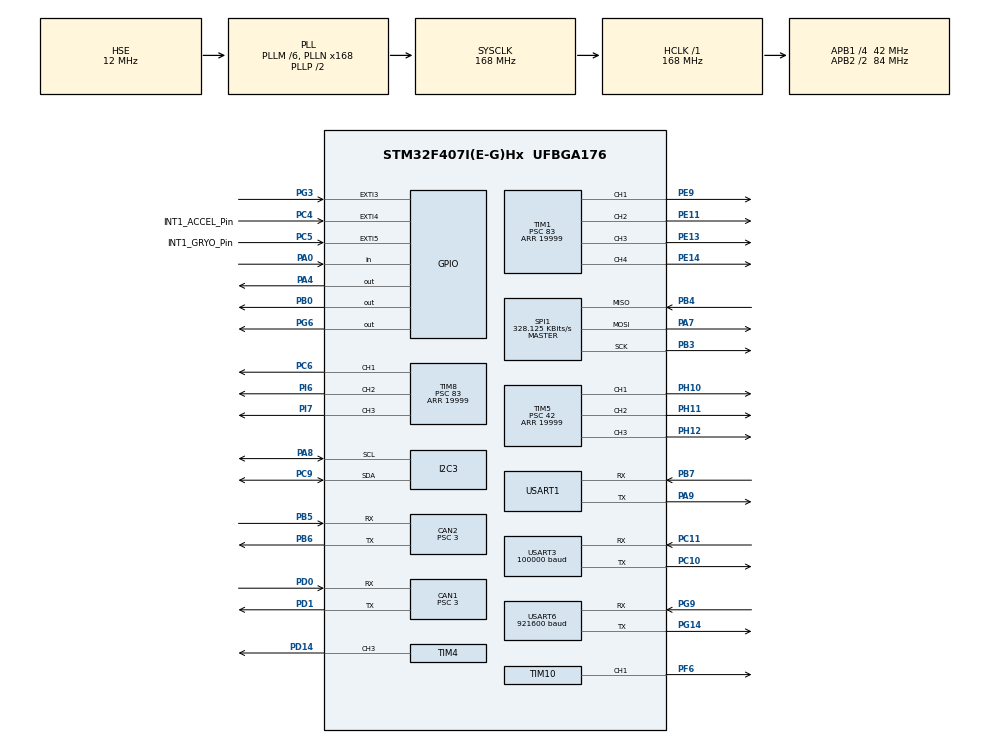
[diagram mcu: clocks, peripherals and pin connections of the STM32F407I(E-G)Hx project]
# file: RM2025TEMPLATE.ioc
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CAN1.BS1=CAN_BS1_10TQ
CAN1.BS2=CAN_BS2_3TQ
CAN1.CalculateBaudRate=1000000
CAN1.CalculateTimeBit=1000
CAN1.CalculateTimeQuantum=71.42857142857143
CAN1.Prescaler=3
CAN2.BS1=CAN_BS1_10TQ
CAN2.BS2=CAN_BS2_3TQ
CAN2.CalculateBaudRate=1000000
CAN2.CalculateTimeBit=1000
CAN2.CalculateTimeQuantum=71.42857142857143
CAN2.Prescaler=3
Dma.Request0=USART3_RX
Dma.Request1=USART1_RX
Dma.Request2=USART6_RX
Dma.USART1_RX.1.Direction=DMA_PERIPH_TO_MEMORY
Dma.USART1_RX.1.FIFOMode=DMA_FIFOMODE_DISABLE
Dma.USART1_RX.1.Instance=DMA2_Stream2
Dma.USART1_RX.1.MemDataAlignment=DMA_MDATAALIGN_BYTE
Dma.USART1_RX.1.MemInc=DMA_MINC_ENABLE
Dma.USART1_RX.1.Mode=DMA_NORMAL
Dma.USART1_RX.1.PeriphDataAlignment=DMA_PDATAALIGN_BYTE
Dma.USART1_RX.1.PeriphInc=DMA_PINC_DISABLE
Dma.USART1_RX.1.Priority=DMA_PRIORITY_VERY_HIGH
Dma.USART3_RX.0.Direction=DMA_PERIPH_TO_MEMORY
Dma.USART3_RX.0.FIFOMode=DMA_FIFOMODE_DISABLE
Dma.USART3_RX.0.Instance=DMA1_Stream1
Dma.USART3_RX.0.MemDataAlignment=DMA_MDATAALIGN_BYTE
Dma.USART3_RX.0.MemInc=DMA_MINC_ENABLE
Dma.USART3_RX.0.Mode=DMA_CIRCULAR
Dma.USART3_RX.0.PeriphDataAlignment=DMA_PDATAALIGN_BYTE
Dma.USART3_RX.0.PeriphInc=DMA_PINC_DISABLE
Dma.USART3_RX.0.Priority=DMA_PRIORITY_VERY_HIGH
Dma.USART6_RX.2.Direction=DMA_PERIPH_TO_MEMORY
Dma.USART6_RX.2.FIFOMode=DMA_FIFOMODE_DISABLE
Dma.USART6_RX.2.Instance=DMA2_Stream1
Dma.USART6_RX.2.MemDataAlignment=DMA_MDATAALIGN_BYTE
Dma.USART6_RX.2.MemInc=DMA_MINC_ENABLE
Dma.USART6_RX.2.Mode=DMA_NORMAL
Dma.USART6_RX.2.PeriphDataAlignment=DMA_PDATAALIGN_BYTE
Dma.USART6_RX.2.PeriphInc=DMA_PINC_DISABLE
Dma.USART6_RX.2.Priority=DMA_PRIORITY_VERY_HIGH
FREERTOS.INCLUDE_pcTaskGetTaskName=1
FREERTOS.INCLUDE_xTaskGetHandle=1
FREERTOS.Tasks01=FlowManager,48,128,StartFlowManager,Default,NULL,Dynamic,NULL,NULL;IMUtempPIDtask,24,512,imu_temp_control_task,As weak,NULL,Dynamic,NULL,NULL;TurretTask,24,512,StartTurretTask,Default,NULL,Dynamic,NULL,NULL;SentryAutonomy,24,128,StartSentryAutonomy,Default,NULL,Dynamic,NULL,NULL
FREERTOS.configUSE_NEWLIB_REENTRANT=1
I2C3.I2C_Mode=I2C_Fast
Mcu.Family=STM32F4
Mcu.Name=STM32F407I(E-G)Hx
Mcu.Package=UFBGA176
NVIC.CAN1_RX0_IRQn=true\:5\:0\:false\:false\:true\:true\:true\:true\:true
NVIC.CAN2_RX0_IRQn=true\:5\:0\:false\:false\:true\:true\:true\:true\:true
NVIC.DMA1_Stream1_IRQn=true\:5\:0\:false\:false\:true\:true\:false\:true\:true
NVIC.DMA2_Stream1_IRQn=true\:5\:0\:false\:false\:true\:true\:false\:true\:true
NVIC.DMA2_Stream2_IRQn=true\:5\:0\:false\:false\:true\:true\:false\:true\:true
NVIC.EXTI3_IRQn=true\:5\:0\:false\:false\:true\:true\:true\:true\:true
NVIC.EXTI4_IRQn=true\:5\:0\:false\:false\:true\:true\:true\:true\:true
NVIC.PriorityGroup=NVIC_PRIORITYGROUP_4
NVIC.USART1_IRQn=true\:5\:0\:false\:false\:true\:true\:true\:true\:true
NVIC.USART6_IRQn=true\:5\:0\:false\:false\:true\:true\:true\:true\:true
PA0-WKUP.Signal=GPIO_Input
PA13.Mode=Serial_Wire
PA13.Signal=SYS_JTMS-SWDIO
PA14.Mode=Serial_Wire
PA14.Signal=SYS_JTCK-SWCLK
PA4.Signal=GPIO_Output
PA7.Mode=Full_Duplex_Master
PA7.Signal=SPI1_MOSI
PA8.Mode=I2C
PA8.Signal=I2C3_SCL
PA9.Mode=Asynchronous
PA9.Signal=USART1_TX
PB0.Signal=GPIO_Output
PB3.Mode=Full_Duplex_Master
PB3.Signal=SPI1_SCK
PB4.Mode=Full_Duplex_Master
PB4.Signal=SPI1_MISO
PB5.Mode=CAN_Activate
PB5.Signal=CAN2_RX
PB6.Mode=CAN_Activate
PB6.Signal=CAN2_TX
PB7.Mode=Asynchronous
PB7.Signal=USART1_RX
PC10.Mode=Asynchronous
PC10.Signal=USART3_TX
PC11.Mode=Asynchronous
PC11.Signal=USART3_RX
PC4.GPIO_Label=INT1_ACCEL_Pin
PC4.Signal=GPXTI4
PC5.GPIO_Label=INT1_GRYO_Pin
PC5.Signal=GPXTI5
PC6.Signal=S_TIM8_CH1
PC9.Mode=I2C
PC9.Signal=I2C3_SDA
PD0.Mode=CAN_Activate
PD0.Signal=CAN1_RX
PD1.Mode=CAN_Activate
PD1.Signal=CAN1_TX
PD14.Signal=S_TIM4_CH3
PE11.Signal=S_TIM1_CH2
PE13.Signal=S_TIM1_CH3
PE14.Signal=S_TIM1_CH4
PE9.Signal=S_TIM1_CH1
PF6.GPIO_PuPd=GPIO_PULLUP
PF6.GPIO_Speed=GPIO_SPEED_FREQ_HIGH
PF6.Signal=S_TIM10_CH1
PG14.Mode=Asynchronous
PG14.Signal=USART6_TX
PG3.Signal=GPXTI3
PG6.Signal=GPIO_Output
PG9.Mode=Asynchronous
PG9.Signal=USART6_RX
PH0-OSC_IN.Mode=HSE-External-Oscillator
PH0-OSC_IN.Signal=RCC_OSC_IN
PH1-OSC_OUT.Mode=HSE-External-Oscillator
PH1-OSC_OUT.Signal=RCC_OSC_OUT
PH10.Signal=S_TIM5_CH1
PH11.Signal=S_TIM5_CH2
PH12.Signal=S_TIM5_CH3
PI6.Signal=S_TIM8_CH2
PI7.Signal=S_TIM8_CH3
ProjectManager.HeapSize=0x200
ProjectManager.StackSize=0x400
ProjectManager.TargetToolchain=STM32CubeIDE
RCC.48MHZClocksFreq_Value=84000000
RCC.AHBFreq_Value=168000000
RCC.APB1CLKDivider=RCC_HCLK_DIV4
RCC.APB1Freq_Value=42000000
RCC.APB1TimFreq_Value=84000000
RCC.APB2CLKDivider=RCC_HCLK_DIV2
RCC.APB2Freq_Value=84000000
RCC.APB2TimFreq_Value=168000000
RCC.CortexFreq_Value=168000000
RCC.EnbaleCSS=true
RCC.HCLKFreq_Value=168000000
RCC.HSE_VALUE=12000000
RCC.HSI_VALUE=16000000
RCC.LSE_VALUE=32768
RCC.PLLM=6
RCC.PLLN=168
RCC.PLLSourceVirtual=RCC_PLLSOURCE_HSE
RCC.SYSCLKFreq_VALUE=168000000
RCC.SYSCLKSource=RCC_SYSCLKSOURCE_PLLCLK
RCC.VCOOutputFreq_Value=336000000
SH.S_TIM10_CH1.0=TIM10_CH1,PWM Generation1 CH1
SH.S_TIM1_CH1.0=TIM1_CH1,PWM Generation1 CH1
SH.S_TIM1_CH2.0=TIM1_CH2,PWM Generation2 CH2
SH.S_TIM1_CH3.0=TIM1_CH3,PWM Generation3 CH3
SH.S_TIM1_CH4.0=TIM1_CH4,PWM Generation4 CH4
SH.S_TIM4_CH3.0=TIM4_CH3,PWM Generation3 CH3
SH.S_TIM5_CH1.0=TIM5_CH1,PWM Generation1 CH1
SH.S_TIM5_CH2.0=TIM5_CH2,PWM Generation2 CH2
SH.S_TIM5_CH3.0=TIM5_CH3,PWM Generation3 CH3
SH.S_TIM8_CH1.0=TIM8_CH1,PWM Generation1 CH1
SH.S_TIM8_CH2.0=TIM8_CH2,PWM Generation2 CH2
SH.S_TIM8_CH3.0=TIM8_CH3,PWM Generation3 CH3
SPI1.BaudRatePrescaler=SPI_BAUDRATEPRESCALER_256
SPI1.CLKPhase=SPI_PHASE_2EDGE
SPI1.CLKPolarity=SPI_POLARITY_HIGH
SPI1.CalculateBaudRate=328.125 KBits/s
SPI1.Direction=SPI_DIRECTION_2LINES
SPI1.Mode=SPI_MODE_MASTER
SPI1.VirtualType=VM_MASTER
TIM1.AutoReloadPreload=TIM_AUTORELOAD_PRELOAD_DISABLE
TIM1.Channel-PWM\ Generation1\ CH1=TIM_CHANNEL_1
TIM1.Channel-PWM\ Generation2\ CH2=TIM_CHANNEL_2
TIM1.Channel-PWM\ Generation3\ CH3=TIM_CHANNEL_3
TIM1.Channel-PWM\ Generation4\ CH4=TIM_CHANNEL_4
TIM1.Period=19999
TIM1.Prescaler=83
TIM1.Pulse-PWM\ Generation1\ CH1=0
TIM10.Channel=TIM_CHANNEL_1
TIM10.Period=4999
TIM4.AutoReloadPreload=TIM_AUTORELOAD_PRELOAD_ENABLE
TIM4.Channel-PWM\ Generation3\ CH3=TIM_CHANNEL_3
TIM4.Period=20999
TIM4.Pulse-PWM\ Generation3\ CH3=10499
TIM5.Channel-PWM\ Generation1\ CH1=TIM_CHANNEL_1
TIM5.Channel-PWM\ Generation2\ CH2=TIM_CHANNEL_2
TIM5.Channel-PWM\ Generation3\ CH3=TIM_CHANNEL_3
TIM5.Period=19999
TIM5.Prescaler=42
TIM8.AutoReloadPreload=TIM_AUTORELOAD_PRELOAD_ENABLE
TIM8.Channel-PWM\ Generation1\ CH1=TIM_CHANNEL_1
TIM8.Channel-PWM\ Generation2\ CH2=TIM_CHANNEL_2
TIM8.Channel-PWM\ Generation3\ CH3=TIM_CHANNEL_3
TIM8.Period=19999
TIM8.Prescaler=83
USART1.VirtualMode=VM_ASYNC
USART3.BaudRate=100000
USART3.Parity=PARITY_EVEN
USART3.VirtualMode=VM_ASYNC
USART6.BaudRate=921600
USART6.VirtualMode=VM_ASYNC
VP_FREERTOS_VS_CMSIS_V2.Mode=CMSIS_V2
VP_TIM10_VS_ClockSourceINT.Mode=Enable_Timer
VP_TIM4_VS_ClockSourceINT.Mode=Internal
board=custom

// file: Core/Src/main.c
/* USER CODE BEGIN Header */
/**
  ******************************************************************************
  * @file           : main.c
  * @brief          : Main program body
  ******************************************************************************
  * @attention
  *
  * Copyright (c) 2025 STMicroelectronics.
  * All rights reserved.
  *
  * This software is licensed under terms that can be found in the LICENSE file
  * in the root directory of this software component.
  * If no LICENSE file comes with this software, it is provided AS-IS.
  *
  ******************************************************************************
  */
/* USER CODE END Header */
#include "main.h"
#include "cmsis_os.h"

/* USER CODE BEGIN Includes */
#include "UART_RM25.h"
#include "DBUS.h"
// #include "CC_Handler.h"
#include "CAN.h"
#include "CAL_RM25.h"

#include "BMI088driver.h"
#include "BMI088Middleware.h"
#include "BMI088reg.h"
/* USER CODE END Includes */

CAN_HandleTypeDef hcan1;
CAN_HandleTypeDef hcan2;

I2C_HandleTypeDef hi2c3;

SPI_HandleTypeDef hspi1;

TIM_HandleTypeDef htim1;
TIM_HandleTypeDef htim4;
TIM_HandleTypeDef htim5;
TIM_HandleTypeDef htim8;
TIM_HandleTypeDef htim10;

UART_HandleTypeDef huart1;
UART_HandleTypeDef huart3;
UART_HandleTypeDef huart6;
DMA_HandleTypeDef hdma_usart1_rx;
DMA_HandleTypeDef hdma_usart3_rx;
DMA_HandleTypeDef hdma_usart6_rx;

/* Definitions for FlowManager */
osThreadId_t FlowManagerHandle;
const osThreadAttr_t FlowManager_attributes = {
  .name = "FlowManager",
  .stack_size = 128 * 4,
  .priority = (osPriority_t) osPriorityRealtime,
};
/* Definitions for IMUtempPIDtask */
osThreadId_t IMUtempPIDtaskHandle;
const osThreadAttr_t IMUtempPIDtask_attributes = {
  .name = "IMUtempPIDtask",
  .stack_size = 512 * 4,
  .priority = (osPriority_t) osPriorityNormal,
};
/* Definitions for TurretTask */
osThreadId_t TurretTaskHandle;
const osThreadAttr_t TurretTask_attributes = {
  .name = "TurretTask",
  .stack_size = 512 * 4,
  .priority = (osPriority_t) osPriorityNormal,
};
/* Definitions for SentryAutonomy */
osThreadId_t SentryAutonomyHandle;
const osThreadAttr_t SentryAutonomy_attributes = {
  .name = "SentryAutonomy",
  .stack_size = 128 * 4,
  .priority = (osPriority_t) osPriorityNormal,
};

void SystemClock_Config(void);
static void MX_GPIO_Init(void);
static void MX_DMA_Init(void);
static void MX_CAN1_Init(void);
static void MX_CAN2_Init(void);
static void MX_SPI1_Init(void);
static void MX_TIM4_Init(void);
static void MX_USART1_UART_Init(void);
static void MX_USART6_UART_Init(void);
static void MX_TIM1_Init(void);
static void MX_TIM8_Init(void);
static void MX_USART3_UART_Init(void);
static void MX_TIM10_Init(void);
static void MX_I2C3_Init(void);
static void MX_TIM5_Init(void);
void StartFlowManager(void *argument);
void imu_temp_control_task(void *argument);
void StartTurretTask(void *argument);
void StartSentryAutonomy(void *argument);

int main(void)
{

  /* MCU Configuration--------------------------------------------------------*/

  /* Reset of all peripherals, Initializes the Flash interface and the Systick. */
  HAL_Init();

  /* Configure the system clock */
  SystemClock_Config();

  /* Initialize all configured peripherals */
  MX_GPIO_Init();
  MX_DMA_Init();
  MX_CAN1_Init();
  MX_CAN2_Init();
  MX_SPI1_Init();
  MX_TIM4_Init();
  MX_USART1_UART_Init();
  MX_USART6_UART_Init();
  MX_TIM1_Init();
  MX_TIM8_Init();
  MX_USART3_UART_Init();
  MX_TIM10_Init();
  MX_I2C3_Init();
  MX_TIM5_Init();

  /* Init scheduler */
  osKernelInitialize();

  /* Create the thread(s) */
  /* creation of FlowManager */
  FlowManagerHandle = osThreadNew(StartFlowManager, NULL, &FlowManager_attributes);

  /* creation of IMUtempPIDtask */
  IMUtempPIDtaskHandle = osThreadNew(imu_temp_control_task, NULL, &IMUtempPIDtask_attributes);

  /* creation of TurretTask */
  TurretTaskHandle = osThreadNew(StartTurretTask, NULL, &TurretTask_attributes);

  /* creation of SentryAutonomy */
  SentryAutonomyHandle = osThreadNew(StartSentryAutonomy, NULL, &SentryAutonomy_attributes);

  /* Start scheduler */
  osKernelStart();

  /* We should never get here as control is now taken by the scheduler */

  /* Infinite loop */
  while (1)
  {

  }
}

void SystemClock_Config(void)
{
  RCC_OscInitTypeDef RCC_OscInitStruct = {0};
  RCC_ClkInitTypeDef RCC_ClkInitStruct = {0};

  /** Configure the main internal regulator output voltage
  */
  __HAL_RCC_PWR_CLK_ENABLE();
  __HAL_PWR_VOLTAGESCALING_CONFIG(PWR_REGULATOR_VOLTAGE_SCALE1);

  /** Initializes the RCC Oscillators according to the specified parameters
  * in the RCC_OscInitTypeDef structure.
  */
  RCC_OscInitStruct.OscillatorType = RCC_OSCILLATORTYPE_HSE;
  RCC_OscInitStruct.HSEState = RCC_HSE_ON;
  RCC_OscInitStruct.PLL.PLLState = RCC_PLL_ON;
  RCC_OscInitStruct.PLL.PLLSource = RCC_PLLSOURCE_HSE;
  RCC_OscInitStruct.PLL.PLLM = 6;
  RCC_OscInitStruct.PLL.PLLN = 168;
  RCC_OscInitStruct.PLL.PLLP = RCC_PLLP_DIV2;
  RCC_OscInitStruct.PLL.PLLQ = 4;
  if (HAL_RCC_OscConfig(&RCC_OscInitStruct) != HAL_OK)
  {
    Error_Handler();
  }

  /** Initializes the CPU, AHB and APB buses clocks
  */
  RCC_ClkInitStruct.ClockType = RCC_CLOCKTYPE_HCLK|RCC_CLOCKTYPE_SYSCLK
                              |RCC_CLOCKTYPE_PCLK1|RCC_CLOCKTYPE_PCLK2;
  RCC_ClkInitStruct.SYSCLKSource = RCC_SYSCLKSOURCE_PLLCLK;
  RCC_ClkInitStruct.AHBCLKDivider = RCC_SYSCLK_DIV1;
  RCC_ClkInitStruct.APB1CLKDivider = RCC_HCLK_DIV4;
  RCC_ClkInitStruct.APB2CLKDivider = RCC_HCLK_DIV2;

  if (HAL_RCC_ClockConfig(&RCC_ClkInitStruct, FLASH_LATENCY_5) != HAL_OK)
  {
    Error_Handler();
  }

  /** Enables the Clock Security System
  */
  HAL_RCC_EnableCSS();
}

static void MX_CAN1_Init(void)
{

  hcan1.Instance = CAN1;
  hcan1.Init.Prescaler = 3;
  hcan1.Init.Mode = CAN_MODE_NORMAL;
  hcan1.Init.SyncJumpWidth = CAN_SJW_1TQ;
  hcan1.Init.TimeSeg1 = CAN_BS1_10TQ;
  hcan1.Init.TimeSeg2 = CAN_BS2_3TQ;
  hcan1.Init.TimeTriggeredMode = DISABLE;
  hcan1.Init.AutoBusOff = DISABLE;
  hcan1.Init.AutoWakeUp = DISABLE;
  hcan1.Init.AutoRetransmission = DISABLE;
  hcan1.Init.ReceiveFifoLocked = DISABLE;
  hcan1.Init.TransmitFifoPriority = DISABLE;
  if (HAL_CAN_Init(&hcan1) != HAL_OK)
  {
    Error_Handler();
  }

}

static void MX_CAN2_Init(void)
{

  hcan2.Instance = CAN2;
  hcan2.Init.Prescaler = 3;
  hcan2.Init.Mode = CAN_MODE_NORMAL;
  hcan2.Init.SyncJumpWidth = CAN_SJW_1TQ;
  hcan2.Init.TimeSeg1 = CAN_BS1_10TQ;
  hcan2.Init.TimeSeg2 = CAN_BS2_3TQ;
  hcan2.Init.TimeTriggeredMode = DISABLE;
  hcan2.Init.AutoBusOff = DISABLE;
  hcan2.Init.AutoWakeUp = DISABLE;
  hcan2.Init.AutoRetransmission = DISABLE;
  hcan2.Init.ReceiveFifoLocked = DISABLE;
  hcan2.Init.TransmitFifoPriority = DISABLE;
  if (HAL_CAN_Init(&hcan2) != HAL_OK)
  {
    Error_Handler();
  }

}

static void MX_I2C3_Init(void)
{

  hi2c3.Instance = I2C3;
  hi2c3.Init.ClockSpeed = 400000;
  hi2c3.Init.DutyCycle = I2C_DUTYCYCLE_2;
  hi2c3.Init.OwnAddress1 = 0;
  hi2c3.Init.AddressingMode = I2C_ADDRESSINGMODE_7BIT;
  hi2c3.Init.DualAddressMode = I2C_DUALADDRESS_DISABLE;
  hi2c3.Init.OwnAddress2 = 0;
  hi2c3.Init.GeneralCallMode = I2C_GENERALCALL_DISABLE;
  hi2c3.Init.NoStretchMode = I2C_NOSTRETCH_DISABLE;
  if (HAL_I2C_Init(&hi2c3) != HAL_OK)
  {
    Error_Handler();
  }

}

static void MX_SPI1_Init(void)
{

  /* SPI1 parameter configuration*/
  hspi1.Instance = SPI1;
  hspi1.Init.Mode = SPI_MODE_MASTER;
  hspi1.Init.Direction = SPI_DIRECTION_2LINES;
  hspi1.Init.DataSize = SPI_DATASIZE_8BIT;
  hspi1.Init.CLKPolarity = SPI_POLARITY_HIGH;
  hspi1.Init.CLKPhase = SPI_PHASE_2EDGE;
  hspi1.Init.NSS = SPI_NSS_SOFT;
  hspi1.Init.BaudRatePrescaler = SPI_BAUDRATEPRESCALER_256;
  hspi1.Init.FirstBit = SPI_FIRSTBIT_MSB;
  hspi1.Init.TIMode = SPI_TIMODE_DISABLE;
  hspi1.Init.CRCCalculation = SPI_CRCCALCULATION_DISABLE;
  hspi1.Init.CRCPolynomial = 10;
  if (HAL_SPI_Init(&hspi1) != HAL_OK)
  {
    Error_Handler();
  }

}

static void MX_TIM1_Init(void)
{

  TIM_MasterConfigTypeDef sMasterConfig = {0};
  TIM_OC_InitTypeDef sConfigOC = {0};
  TIM_BreakDeadTimeConfigTypeDef sBreakDeadTimeConfig = {0};

  htim1.Instance = TIM1;
  htim1.Init.Prescaler = 83;
  htim1.Init.CounterMode = TIM_COUNTERMODE_UP;
  htim1.Init.Period = 19999;
  htim1.Init.ClockDivision = TIM_CLOCKDIVISION_DIV1;
  htim1.Init.RepetitionCounter = 0;
  htim1.Init.AutoReloadPreload = TIM_AUTORELOAD_PRELOAD_DISABLE;
  if (HAL_TIM_PWM_Init(&htim1) != HAL_OK)
  {
    Error_Handler();
  }
  sMasterConfig.MasterOutputTrigger = TIM_TRGO_RESET;
  sMasterConfig.MasterSlaveMode = TIM_MASTERSLAVEMODE_DISABLE;
  if (HAL_TIMEx_MasterConfigSynchronization(&htim1, &sMasterConfig) != HAL_OK)
  {
    Error_Handler();
  }
  sConfigOC.OCMode = TIM_OCMODE_PWM1;
  sConfigOC.Pulse = 0;
  sConfigOC.OCPolarity = TIM_OCPOLARITY_HIGH;
  sConfigOC.OCNPolarity = TIM_OCNPOLARITY_HIGH;
  sConfigOC.OCFastMode = TIM_OCFAST_DISABLE;
  sConfigOC.OCIdleState = TIM_OCIDLESTATE_RESET;
  sConfigOC.OCNIdleState = TIM_OCNIDLESTATE_RESET;
  if (HAL_TIM_PWM_ConfigChannel(&htim1, &sConfigOC, TIM_CHANNEL_1) != HAL_OK)
  {
    Error_Handler();
  }
  if (HAL_TIM_PWM_ConfigChannel(&htim1, &sConfigOC, TIM_CHANNEL_2) != HAL_OK)
  {
    Error_Handler();
  }
  if (HAL_TIM_PWM_ConfigChannel(&htim1, &sConfigOC, TIM_CHANNEL_3) != HAL_OK)
  {
    Error_Handler();
  }
  if (HAL_TIM_PWM_ConfigChannel(&htim1, &sConfigOC, TIM_CHANNEL_4) != HAL_OK)
  {
    Error_Handler();
  }
  sBreakDeadTimeConfig.OffStateRunMode = TIM_OSSR_DISABLE;
  sBreakDeadTimeConfig.OffStateIDLEMode = TIM_OSSI_DISABLE;
  sBreakDeadTimeConfig.LockLevel = TIM_LOCKLEVEL_OFF;
  sBreakDeadTimeConfig.DeadTime = 0;
  sBreakDeadTimeConfig.BreakState = TIM_BREAK_DISABLE;
  sBreakDeadTimeConfig.BreakPolarity = TIM_BREAKPOLARITY_HIGH;
  sBreakDeadTimeConfig.AutomaticOutput = TIM_AUTOMATICOUTPUT_DISABLE;
  if (HAL_TIMEx_ConfigBreakDeadTime(&htim1, &sBreakDeadTimeConfig) != HAL_OK)
  {
    Error_Handler();
  }
  HAL_TIM_MspPostInit(&htim1);

}

static void MX_TIM4_Init(void)
{

  TIM_ClockConfigTypeDef sClockSourceConfig = {0};
  TIM_MasterConfigTypeDef sMasterConfig = {0};
  TIM_OC_InitTypeDef sConfigOC = {0};

  htim4.Instance = TIM4;
  htim4.Init.Prescaler = 0;
  htim4.Init.CounterMode = TIM_COUNTERMODE_UP;
  htim4.Init.Period = 20999;
  htim4.Init.ClockDivision = TIM_CLOCKDIVISION_DIV1;
  htim4.Init.AutoReloadPreload = TIM_AUTORELOAD_PRELOAD_ENABLE;
  if (HAL_TIM_Base_Init(&htim4) != HAL_OK)
  {
    Error_Handler();
  }
  sClockSourceConfig.ClockSource = TIM_CLOCKSOURCE_INTERNAL;
  if (HAL_TIM_ConfigClockSource(&htim4, &sClockSourceConfig) != HAL_OK)
  {
    Error_Handler();
  }
  if (HAL_TIM_PWM_Init(&htim4) != HAL_OK)
  {
    Error_Handler();
  }
  sMasterConfig.MasterOutputTrigger = TIM_TRGO_RESET;
  sMasterConfig.MasterSlaveMode = TIM_MASTERSLAVEMODE_DISABLE;
  if (HAL_TIMEx_MasterConfigSynchronization(&htim4, &sMasterConfig) != HAL_OK)
  {
    Error_Handler();
  }
  sConfigOC.OCMode = TIM_OCMODE_PWM1;
  sConfigOC.Pulse = 10499;
  sConfigOC.OCPolarity = TIM_OCPOLARITY_HIGH;
  sConfigOC.OCFastMode = TIM_OCFAST_DISABLE;
  if (HAL_TIM_PWM_ConfigChannel(&htim4, &sConfigOC, TIM_CHANNEL_3) != HAL_OK)
  {
    Error_Handler();
  }
  HAL_TIM_MspPostInit(&htim4);

}

static void MX_TIM5_Init(void)
{

  TIM_MasterConfigTypeDef sMasterConfig = {0};
  TIM_OC_InitTypeDef sConfigOC = {0};

  htim5.Instance = TIM5;
  htim5.Init.Prescaler = 42;
  htim5.Init.CounterMode = TIM_COUNTERMODE_UP;
  htim5.Init.Period = 19999;
  htim5.Init.ClockDivision = TIM_CLOCKDIVISION_DIV1;
  htim5.Init.AutoReloadPreload = TIM_AUTORELOAD_PRELOAD_DISABLE;
  if (HAL_TIM_PWM_Init(&htim5) != HAL_OK)
  {
    Error_Handler();
  }
  sMasterConfig.MasterOutputTrigger = TIM_TRGO_RESET;
  sMasterConfig.MasterSlaveMode = TIM_MASTERSLAVEMODE_DISABLE;
  if (HAL_TIMEx_MasterConfigSynchronization(&htim5, &sMasterConfig) != HAL_OK)
  {
    Error_Handler();
  }
  sConfigOC.OCMode = TIM_OCMODE_PWM1;
  sConfigOC.Pulse = 0;
  sConfigOC.OCPolarity = TIM_OCPOLARITY_HIGH;
  sConfigOC.OCFastMode = TIM_OCFAST_DISABLE;
  if (HAL_TIM_PWM_ConfigChannel(&htim5, &sConfigOC, TIM_CHANNEL_1) != HAL_OK)
  {
    Error_Handler();
  }
  if (HAL_TIM_PWM_ConfigChannel(&htim5, &sConfigOC, TIM_CHANNEL_2) != HAL_OK)
  {
    Error_Handler();
  }
  if (HAL_TIM_PWM_ConfigChannel(&htim5, &sConfigOC, TIM_CHANNEL_3) != HAL_OK)
  {
    Error_Handler();
  }
  HAL_TIM_MspPostInit(&htim5);

}

static void MX_TIM8_Init(void)
{

  TIM_MasterConfigTypeDef sMasterConfig = {0};
  TIM_OC_InitTypeDef sConfigOC = {0};
  TIM_BreakDeadTimeConfigTypeDef sBreakDeadTimeConfig = {0};

  htim8.Instance = TIM8;
  htim8.Init.Prescaler = 83;
  htim8.Init.CounterMode = TIM_COUNTERMODE_UP;
  htim8.Init.Period = 19999;
  htim8.Init.ClockDivision = TIM_CLOCKDIVISION_DIV1;
  htim8.Init.RepetitionCounter = 0;
  htim8.Init.AutoReloadPreload = TIM_AUTORELOAD_PRELOAD_ENABLE;
  if (HAL_TIM_PWM_Init(&htim8) != HAL_OK)
  {
    Error_Handler();
  }
  sMasterConfig.MasterOutputTrigger = TIM_TRGO_RESET;
  sMasterConfig.MasterSlaveMode = TIM_MASTERSLAVEMODE_DISABLE;
  if (HAL_TIMEx_MasterConfigSynchronization(&htim8, &sMasterConfig) != HAL_OK)
  {
    Error_Handler();
  }
  sConfigOC.OCMode = TIM_OCMODE_PWM1;
  sConfigOC.Pulse = 0;
  sConfigOC.OCPolarity = TIM_OCPOLARITY_HIGH;
  sConfigOC.OCNPolarity = TIM_OCNPOLARITY_HIGH;
  sConfigOC.OCFastMode = TIM_OCFAST_DISABLE;
  sConfigOC.OCIdleState = TIM_OCIDLESTATE_RESET;
  sConfigOC.OCNIdleState = TIM_OCNIDLESTATE_RESET;
  if (HAL_TIM_PWM_ConfigChannel(&htim8, &sConfigOC, TIM_CHANNEL_1) != HAL_OK)
  {
    Error_Handler();
  }
  if (HAL_TIM_PWM_ConfigChannel(&htim8, &sConfigOC, TIM_CHANNEL_2) != HAL_OK)
  {
    Error_Handler();
  }
  if (HAL_TIM_PWM_ConfigChannel(&htim8, &sConfigOC, TIM_CHANNEL_3) != HAL_OK)
  {
    Error_Handler();
  }
  sBreakDeadTimeConfig.OffStateRunMode = TIM_OSSR_DISABLE;
  sBreakDeadTimeConfig.OffStateIDLEMode = TIM_OSSI_DISABLE;
  sBreakDeadTimeConfig.LockLevel = TIM_LOCKLEVEL_OFF;
  sBreakDeadTimeConfig.DeadTime = 0;
  sBreakDeadTimeConfig.BreakState = TIM_BREAK_DISABLE;
  sBreakDeadTimeConfig.BreakPolarity = TIM_BREAKPOLARITY_HIGH;
  sBreakDeadTimeConfig.AutomaticOutput = TIM_AUTOMATICOUTPUT_DISABLE;
  if (HAL_TIMEx_ConfigBreakDeadTime(&htim8, &sBreakDeadTimeConfig) != HAL_OK)
  {
    Error_Handler();
  }
  HAL_TIM_MspPostInit(&htim8);

}

static void MX_TIM10_Init(void)
{

  TIM_OC_InitTypeDef sConfigOC = {0};

  htim10.Instance = TIM10;
  htim10.Init.Prescaler = 0;
  htim10.Init.CounterMode = TIM_COUNTERMODE_UP;
  htim10.Init.Period = 4999;
  htim10.Init.ClockDivision = TIM_CLOCKDIVISION_DIV1;
  htim10.Init.AutoReloadPreload = TIM_AUTORELOAD_PRELOAD_DISABLE;
  if (HAL_TIM_Base_Init(&htim10) != HAL_OK)
  {
    Error_Handler();
  }
  if (HAL_TIM_PWM_Init(&htim10) != HAL_OK)
  {
    Error_Handler();
  }
  sConfigOC.OCMode = TIM_OCMODE_PWM1;
  sConfigOC.Pulse = 0;
  sConfigOC.OCPolarity = TIM_OCPOLARITY_HIGH;
  sConfigOC.OCFastMode = TIM_OCFAST_DISABLE;
  if (HAL_TIM_PWM_ConfigChannel(&htim10, &sConfigOC, TIM_CHANNEL_1) != HAL_OK)
  {
    Error_Handler();
  }
  HAL_TIM_MspPostInit(&htim10);

}

static void MX_USART1_UART_Init(void)
{

  huart1.Instance = USART1;
  huart1.Init.BaudRate = 115200;
  huart1.Init.WordLength = UART_WORDLENGTH_8B;
  huart1.Init.StopBits = UART_STOPBITS_1;
  huart1.Init.Parity = UART_PARITY_NONE;
  huart1.Init.Mode = UART_MODE_TX_RX;
  huart1.Init.HwFlowCtl = UART_HWCONTROL_NONE;
  huart1.Init.OverSampling = UART_OVERSAMPLING_16;
  if (HAL_UART_Init(&huart1) != HAL_OK)
  {
    Error_Handler();
  }

}

static void MX_USART3_UART_Init(void)
{

  huart3.Instance = USART3;
  huart3.Init.BaudRate = 100000;
  huart3.Init.WordLength = UART_WORDLENGTH_8B;
  huart3.Init.StopBits = UART_STOPBITS_1;
  huart3.Init.Parity = UART_PARITY_EVEN;
  huart3.Init.Mode = UART_MODE_TX_RX;
  huart3.Init.HwFlowCtl = UART_HWCONTROL_NONE;
  huart3.Init.OverSampling = UART_OVERSAMPLING_16;
  if (HAL_UART_Init(&huart3) != HAL_OK)
  {
    Error_Handler();
  }

}

static void MX_USART6_UART_Init(void)
{

  huart6.Instance = USART6;
  huart6.Init.BaudRate = 921600;
  huart6.Init.WordLength = UART_WORDLENGTH_8B;
  huart6.Init.StopBits = UART_STOPBITS_1;
  huart6.Init.Parity = UART_PARITY_NONE;
  huart6.Init.Mode = UART_MODE_TX_RX;
  huart6.Init.HwFlowCtl = UART_HWCONTROL_NONE;
  huart6.Init.OverSampling = UART_OVERSAMPLING_16;
  if (HAL_UART_Init(&huart6) != HAL_OK)
  {
    Error_Handler();
  }

}

static void MX_DMA_Init(void)
{

  /* DMA controller clock enable */
  __HAL_RCC_DMA1_CLK_ENABLE();
  __HAL_RCC_DMA2_CLK_ENABLE();

  /* DMA interrupt init */
  /* DMA1_Stream1_IRQn interrupt configuration */
  HAL_NVIC_SetPriority(DMA1_Stream1_IRQn, 5, 0);
  HAL_NVIC_EnableIRQ(DMA1_Stream1_IRQn);
  /* DMA2_Stream1_IRQn interrupt configuration */
  HAL_NVIC_SetPriority(DMA2_Stream1_IRQn, 5, 0);
  HAL_NVIC_EnableIRQ(DMA2_Stream1_IRQn);
  /* DMA2_Stream2_IRQn interrupt configuration */
  HAL_NVIC_SetPriority(DMA2_Stream2_IRQn, 5, 0);
  HAL_NVIC_EnableIRQ(DMA2_Stream2_IRQn);

}

static void MX_GPIO_Init(void)
{
  GPIO_InitTypeDef GPIO_InitStruct = {0};

  /* GPIO Ports Clock Enable */
  __HAL_RCC_GPIOB_CLK_ENABLE();
  __HAL_RCC_GPIOG_CLK_ENABLE();
  __HAL_RCC_GPIOA_CLK_ENABLE();
  __HAL_RCC_GPIOD_CLK_ENABLE();
  __HAL_RCC_GPIOC_CLK_ENABLE();
  __HAL_RCC_GPIOI_CLK_ENABLE();
  __HAL_RCC_GPIOH_CLK_ENABLE();
  __HAL_RCC_GPIOF_CLK_ENABLE();
  __HAL_RCC_GPIOE_CLK_ENABLE();

  /*Configure GPIO pin Output Level */
  HAL_GPIO_WritePin(GPIOG, GPIO_PIN_6, GPIO_PIN_RESET);

  /*Configure GPIO pin Output Level */
  HAL_GPIO_WritePin(GPIOA, GPIO_PIN_4, GPIO_PIN_RESET);

  /*Configure GPIO pin Output Level */
  HAL_GPIO_WritePin(GPIOB, GPIO_PIN_0, GPIO_PIN_RESET);

  /*Configure GPIO pin : PG6 */
  GPIO_InitStruct.Pin = GPIO_PIN_6;
  GPIO_InitStruct.Mode = GPIO_MODE_OUTPUT_PP;
  GPIO_InitStruct.Pull = GPIO_NOPULL;
  GPIO_InitStruct.Speed = GPIO_SPEED_FREQ_LOW;
  HAL_GPIO_Init(GPIOG, &GPIO_InitStruct);

  /*Configure GPIO pin : PG3 */
  GPIO_InitStruct.Pin = GPIO_PIN_3;
  GPIO_InitStruct.Mode = GPIO_MODE_IT_RISING;
  GPIO_InitStruct.Pull = GPIO_NOPULL;
  HAL_GPIO_Init(GPIOG, &GPIO_InitStruct);

  /*Configure GPIO pin : PA0 */
  GPIO_InitStruct.Pin = GPIO_PIN_0;
  GPIO_InitStruct.Mode = GPIO_MODE_INPUT;
  GPIO_InitStruct.Pull = GPIO_NOPULL;
  HAL_GPIO_Init(GPIOA, &GPIO_InitStruct);

  /*Configure GPIO pin : PA4 */
  GPIO_InitStruct.Pin = GPIO_PIN_4;
  GPIO_InitStruct.Mode = GPIO_MODE_OUTPUT_PP;
  GPIO_InitStruct.Pull = GPIO_NOPULL;
  GPIO_InitStruct.Speed = GPIO_SPEED_FREQ_LOW;
  HAL_GPIO_Init(GPIOA, &GPIO_InitStruct);

  /*Configure GPIO pins : INT1_ACCEL_Pin_Pin INT1_GRYO_Pin_Pin */
  GPIO_InitStruct.Pin = INT1_ACCEL_Pin_Pin|INT1_GRYO_Pin_Pin;
  GPIO_InitStruct.Mode = GPIO_MODE_IT_RISING;
  GPIO_InitStruct.Pull = GPIO_NOPULL;
  HAL_GPIO_Init(GPIOC, &GPIO_InitStruct);

  /*Configure GPIO pin : PB0 */
  GPIO_InitStruct.Pin = GPIO_PIN_0;
  GPIO_InitStruct.Mode = GPIO_MODE_OUTPUT_PP;
  GPIO_InitStruct.Pull = GPIO_NOPULL;
  GPIO_InitStruct.Speed = GPIO_SPEED_FREQ_LOW;
  HAL_GPIO_Init(GPIOB, &GPIO_InitStruct);

  /* EXTI interrupt init*/
  HAL_NVIC_SetPriority(EXTI3_IRQn, 5, 0);
  HAL_NVIC_EnableIRQ(EXTI3_IRQn);

  HAL_NVIC_SetPriority(EXTI4_IRQn, 5, 0);
  HAL_NVIC_EnableIRQ(EXTI4_IRQn);

}

void StartFlowManager(void *argument)
{
  /* USER CODE BEGIN 5 */
	uint8_t iCount = 0;

	DBUS_Rx_Init(&huart3);

	UART_Ex_Init(&huart1);
	UART_Ex_Init(&huart6);
	CAN_Init();
	BMI088_gyro_init();
  /* Infinite loop */
  for(;;)
  {
	  DBUS_Update();
	  if(iCount%3==0){
		  CAL_Update();
	  }

	  //UART_Printf(&huart6,"DBUS Check: %d %d \n", getDR16_W(),getCC_W());
	  //UART_Printfmt(&huart6,"%d \n",getDR16_CH1());

	  if(iCount<255){
		  iCount++;
	  }else{
		  iCount = 0;
	  }
	  osDelay(1);
  }
  /* USER CODE END 5 */
}

__weak void imu_temp_control_task(void *argument)
{
  for(;;)
  {
    osDelay(1);
  }
}

void StartTurretTask(void *argument)
{
  for(;;)
  {
    osDelay(1);
  }
}

void StartSentryAutonomy(void *argument)
{
  for(;;)
  {
    osDelay(1);
  }
}

void Error_Handler(void)
{
  __disable_irq();
  while (1)
  {
  }
}
